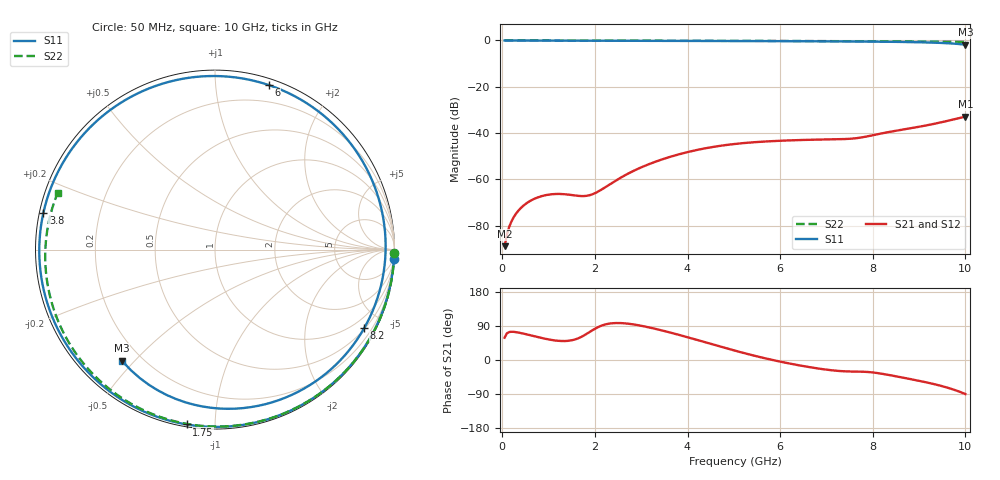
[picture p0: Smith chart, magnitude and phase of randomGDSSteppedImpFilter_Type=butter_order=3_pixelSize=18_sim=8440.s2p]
! freq	dB(S11)	phase(S11)	dB(S12)	phase(S12)
!  dB(S21)	phase(S21)	dB(S22)	phase(S22)
!S-par simulation data
#  GHz  S  DB  R 50
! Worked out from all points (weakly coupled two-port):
!   200 points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, 50 MHz to 10 GHz, reference 50 ohm
!   highest |S21| = -32.88 dB at 10 GHz (marker M1); lowest = -88.8 dB at 50 MHz (marker M2)
!   lowest |S11| = -1.9 dB at 10 GHz (marker M3), VSWR 9.38, Z = 6.48 - j23 ohm
!   |S11| at or under -10 dB: nowhere
!   |S22| runs from -0.6 to 0.0 dB; largest |S21 - S12| = 0
!   S11 on the Smith chart (normalised r, x): 50 MHz: 1, -37; 1.75 GHz: 0.01, -0.85; 3.8 GHz: 0.01, +0.11; 6 GHz: 0.05, +1.38; 8.2 GHz: 0.53, -3.98; 10 GHz: 0.13, -0.46
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0.05  -0.01 -3.1  -88.80 59.0  -88.80 59.0  -0.01 -1.1
0.15  -0.03 -9.2  -80.42 73.7  -80.42 73.7  -0.01 -3.4
0.4  -0.04 -24.2  -72.34 71.2  -72.34 71.2  -0.02 -9.1
0.75  -0.06 -44.8  -67.87 60.9  -67.87 60.9  -0.02 -17.0
1.25  -0.09 -72.9  -66.27 50.2  -66.27 50.2  -0.04 -28.2
1.75  -0.11 -99.2  -67.18 63.8  -67.18 63.8  -0.05 -39.2
2  -0.13 -111.6  -65.95 82.4  -65.95 82.4  -0.06 -44.6
2.6  -0.15 -139.8  -58.74 97.1  -58.74 97.1  -0.07 -57.4
3.4  -0.18 -175.0  -51.69 79.5  -51.69 79.5  -0.10 -73.8
3.8  -0.19 167.9  -49.24 66.8  -49.24 66.8  -0.11 -81.8
4.4  -0.22 142.3  -46.50 46.2  -46.50 46.2  -0.13 -93.6
5.05  -0.26 114.2  -44.63 23.8  -44.63 23.8  -0.16 -105.9
5.55  -0.29 92.1  -43.78 8.1  -43.78 8.1  -0.19 -115.2
6  -0.31 71.9  -43.30 -4.3  -43.30 -4.3  -0.21 -123.5
6.7  -0.36 39.9  -42.85 -20.1  -42.85 -20.1  -0.26 -136.3
7.45  -0.42 5.8  -42.52 -30.2  -42.52 -30.2  -0.32 -150.0
8.2  -0.54 -27.8  -40.08 -36.3  -40.08 -36.3  -0.40 -163.9
8.35  -0.58 -34.5  -39.52 -39.6  -39.52 -39.6  -0.41 -166.7
8.9  -0.75 -59.7  -37.62 -52.5  -37.62 -52.5  -0.47 -177.3
9.35  -0.98 -82.7  -35.89 -64.4  -35.89 -64.4  -0.53 173.8
9.7  -1.30 -104.5  -34.32 -76.3  -34.32 -76.3  -0.57 166.6
10  -1.86 -130.0  -32.88 -90.0  -32.88 -90.0  -0.61 160.2
